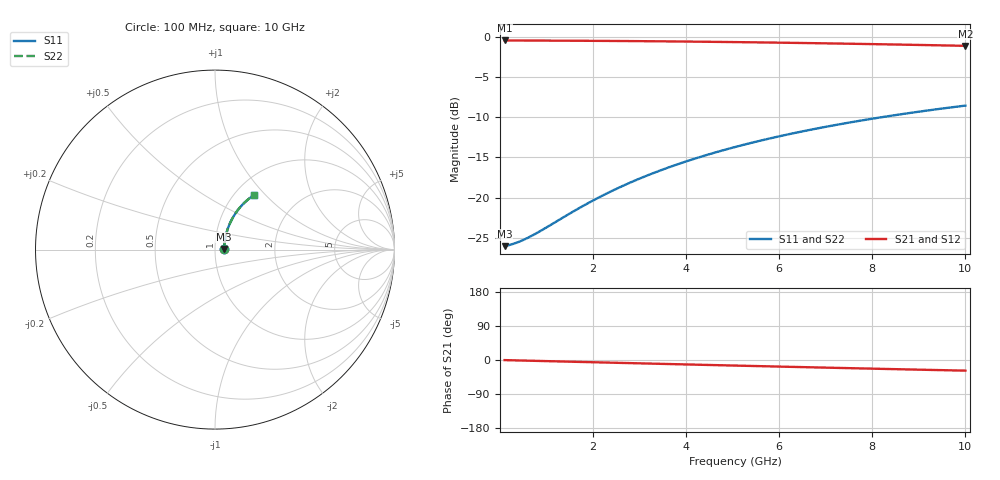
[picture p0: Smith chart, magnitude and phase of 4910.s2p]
# Hz S RI R 50.00
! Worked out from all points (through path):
!   100 points, 100 MHz to 10 GHz, reference 50 ohm
!   highest |S21| = -0.44 dB at 100 MHz (marker M1); lowest = -1.1 dB at 10 GHz (marker M2)
!   group delay of S21, straight-line fit = 7.83 ps
!   lowest |S11| = -26.0 dB at 100 MHz (marker M3), VSWR 1.10, Z = 55.2 + j0.422 ohm
!   |S11| at or under -10 dB: start of sweep to 8.197 GHz
!   |S22| runs from -26.0 to -8.6 dB; largest |S21 - S12| = 0
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1e8  0.0497 0.00381  0.9503 -0.00491  0.9503 -0.00491  0.0497 0.00381
3e8  0.0504 0.0114  0.9496 -0.0147  0.9496 -0.0147  0.0504 0.0114
4e8  0.0507 0.0152  0.9493 -0.0196  0.9493 -0.0196  0.0507 0.0152
6e8  0.0514 0.0228  0.9486 -0.0294  0.9486 -0.0294  0.0514 0.0228
9e8  0.0526 0.0341  0.9473 -0.044  0.9473 -0.044  0.0526 0.0341
1.5e9  0.0559 0.0566  0.9439 -0.073  0.9439 -0.073  0.0559 0.0566
1.8e9  0.058 0.0677  0.9418 -0.0875  0.9418 -0.0875  0.058 0.0677
2.2e9  0.0613 0.0825  0.9384 -0.1066  0.9384 -0.1066  0.0613 0.0825
2.6e9  0.0652 0.097  0.9344 -0.1255  0.9344 -0.1255  0.0652 0.097
3e9  0.0696 0.1113  0.9298 -0.1442  0.9298 -0.1442  0.0696 0.1113
3.4e9  0.0746 0.1253  0.9247 -0.1626  0.9247 -0.1626  0.0746 0.1253
3.8e9  0.0801 0.1391  0.919 -0.1808  0.919 -0.1808  0.0801 0.1391
4.2e9  0.0861 0.1526  0.9128 -0.1987  0.9128 -0.1987  0.0861 0.1526
4.6e9  0.0926 0.1658  0.906 -0.2162  0.906 -0.2162  0.0926 0.1658
5.1e9  0.1015 0.1817  0.8969 -0.2377  0.8969 -0.2377  0.1015 0.1817
5.5e9  0.109 0.1941  0.8891 -0.2545  0.8891 -0.2545  0.109 0.1941
5.9e9  0.117 0.2061  0.8808 -0.2709  0.8808 -0.2709  0.117 0.2061
6.7e9  0.1341 0.2288  0.863 -0.3025  0.863 -0.3025  0.1341 0.2288
7.5e9  0.1527 0.2499  0.8437 -0.3324  0.8437 -0.3324  0.1527 0.2499
8.4e9  0.175 0.2714  0.8205 -0.3639  0.8205 -0.3639  0.175 0.2714
9.2e9  0.1959 0.2885  0.7988 -0.39  0.7988 -0.39  0.1959 0.2885
1e10  0.2175 0.3038  0.7761 -0.4142  0.7761 -0.4142  0.2175 0.3038
